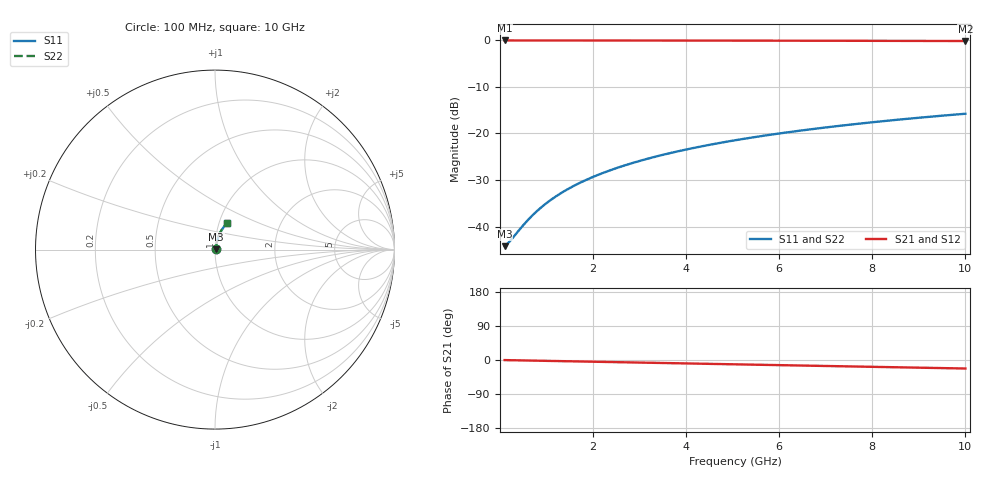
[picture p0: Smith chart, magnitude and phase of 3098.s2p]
# Hz S RI R 50.00
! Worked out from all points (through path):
!   100 points, 100 MHz to 10 GHz, reference 50 ohm
!   highest |S21| = -0.05 dB at 100 MHz (marker M1); lowest = -0.2 dB at 10 GHz (marker M2)
!   group delay of S21, straight-line fit = 6.24 ps
!   lowest |S11| = -44.2 dB at 100 MHz (marker M3), VSWR 1.01, Z = 50.6 + j0.168 ohm
!   |S11| at or under -10 dB: start of sweep to end of sweep
!   |S22| runs from -44.2 to -15.8 dB; largest |S21 - S12| = 0
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1e8  0.00595 0.00166  0.994 -0.00393  0.994 -0.00393  0.00595 0.00166
2e8  0.00601 0.00332  0.994 -0.00785  0.994 -0.00785  0.00601 0.00332
5e8  0.00622 0.00829  0.9937 -0.0196  0.9937 -0.0196  0.00622 0.00829
6e8  0.00631 0.00995  0.9936 -0.0236  0.9936 -0.0236  0.00631 0.00995
7e8  0.00641 0.0116  0.9934 -0.0275  0.9934 -0.0275  0.00641 0.0116
9e8  0.00665 0.0149  0.9931 -0.0353  0.9931 -0.0353  0.00665 0.0149
1.1e9  0.00693 0.0182  0.9927 -0.0432  0.9927 -0.0432  0.00693 0.0182
1.3e9  0.00727 0.0215  0.9923 -0.051  0.9923 -0.051  0.00727 0.0215
1.5e9  0.00765 0.0248  0.9917 -0.0588  0.9917 -0.0588  0.00765 0.0248
1.8e9  0.00833 0.0297  0.9908 -0.0706  0.9908 -0.0706  0.00833 0.0297
2.1e9  0.00911 0.0347  0.9897 -0.0823  0.9897 -0.0823  0.00911 0.0347
2.5e9  0.0103 0.0412  0.988 -0.0979  0.988 -0.0979  0.0103 0.0412
2.9e9  0.0118 0.0476  0.986 -0.1134  0.986 -0.1134  0.0118 0.0476
3.4e9  0.0138 0.0556  0.9831 -0.1327  0.9831 -0.1327  0.0138 0.0556
3.8e9  0.0157 0.062  0.9805 -0.1481  0.9805 -0.1481  0.0157 0.062
4.2e9  0.0178 0.0682  0.9776 -0.1635  0.9776 -0.1635  0.0178 0.0682
5.1e9  0.0232 0.0821  0.97 -0.1977  0.97 -0.1977  0.0232 0.0821
5.9e9  0.0288 0.094  0.9621 -0.2278  0.9621 -0.2278  0.0288 0.094
6.7e9  0.0351 0.1055  0.9532 -0.2574  0.9532 -0.2574  0.0351 0.1055
7.5e9  0.042 0.1166  0.9432 -0.2866  0.9432 -0.2866  0.042 0.1166
8.4e9  0.0507 0.1284  0.9308 -0.3188  0.9308 -0.3188  0.0507 0.1284
1e10  0.0679 0.1478  0.9058 -0.3744  0.9058 -0.3744  0.0679 0.1478
